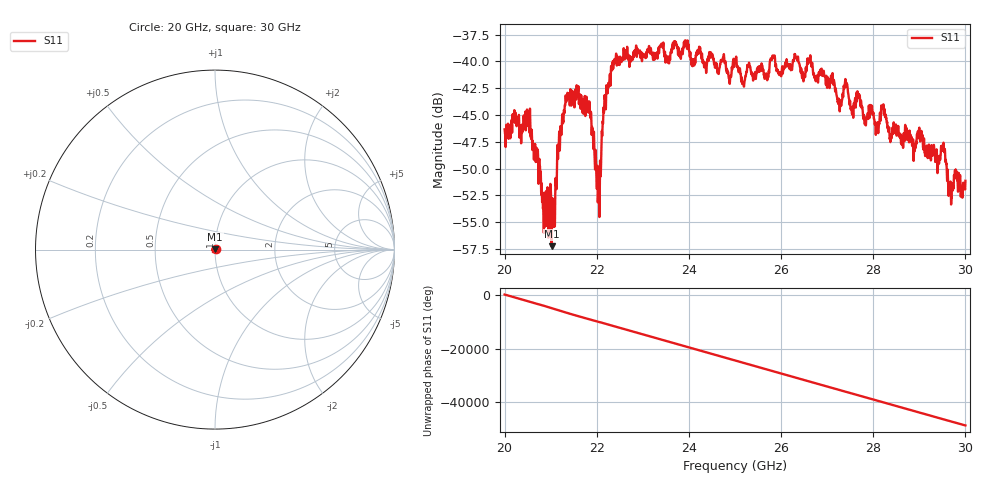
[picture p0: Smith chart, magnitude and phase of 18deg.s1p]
#  HZ  S  RI  R  50.00
! Rohde & Schwarz ZVA40 4Ports - Version 3.90 - 1145.1110k42 SN: 100403
! Date: 2023-10-03 12:45:22
! Measurement: S12
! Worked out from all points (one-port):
!   5001 points, 20 GHz to 30 GHz, reference 50 ohm
!   lowest |S11| = -57.2 dB at 21.02 GHz (marker M1), VSWR 1.00, Z = 50.1 + j0.106 ohm
!   |S11| at or under -10 dB: start of sweep to end of sweep
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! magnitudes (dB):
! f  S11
! 20 GHz  -46.3
! 20.51 GHz  -44.7
! 20.74 GHz  -51.4
! 20.84 GHz  -54.0
! 21.02 GHz  -57.2
! 21.06 GHz  -55.4
! 21.25 GHz  -45.0
! 21.38 GHz  -43.1
! 21.81 GHz  -44.3
! 22.04 GHz  -51.5
! 22.19 GHz  -44.1
! 22.36 GHz  -40.7
! 22.5 GHz  -39.8
! 23.75 GHz  -38.7
! 24.87 GHz  -41.7
! 25 GHz  -40.0
! 25.18 GHz  -42.1
! 25.69 GHz  -41.6
! 25.82 GHz  -39.5
! 26.25 GHz  -40.3
! 27.11 GHz  -41.1
! 27.27 GHz  -44.6
! 27.41 GHz  -42.2
! 27.5 GHz  -43.8
! 28.75 GHz  -46.6
! 29.51 GHz  -47.7
! 29.68 GHz  -51.2
! 30 GHz  -51.1
